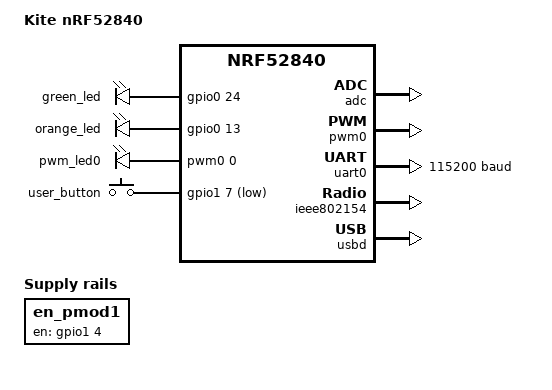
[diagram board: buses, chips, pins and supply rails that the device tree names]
/dts-v1/;
#include <nordic/nrf52840_qiaa.dtsi>
#include "kite_nrf52840-pinctrl.dtsi"
#include "kite_nrf52840-connectors-gpio.dtsi"
#include "kite_nrf52840-connectors-pinctrl.dtsi"

/ {
	model = "Kite nRF52840";
	compatible = "eub,kite-nrf52840";

	chosen {
		zephyr,console = &uart0;
		zephyr,shell-uart = &uart0;
		zephyr,uart-mcumgr = &uart0;
		zephyr,bt-mon-uart = &uart0;
		zephyr,bt-c2h-uart = &uart0;
		zephyr,sram = &sram0;
		zephyr,flash = &flash0;
		zephyr,code-partition = &slot0_partition;
		zephyr,ieee802154 = &ieee802154;
	};

	/* These aliases are provided for compatibility with samples */
	aliases {
		led0 = &green_led;
		led1 = &orange_led;
		pwm-led0 = &pwm_led0;
		sw0 = &user_button;
		bootloader-led0 = &green_led;
		mcuboot-button0 = &user_button;
		mcuboot-led0 = &green_led;
		watchdog0 = &wdt0;
	};

	leds {
		compatible = "gpio-leds";
		green_led: green_led {
			gpios = <&gpio0 24 0>;
		};
		orange_led: orange_led {
			gpios = <&gpio0 13 0>;
		};
	};

	pwmleds {
		compatible = "pwm-leds";
		pwm_led0: pwm_led_0 {
			pwms = <&pwm0 0 PWM_MSEC(20) PWM_POLARITY_NORMAL>;
		};
	};

	buttons {
		compatible = "gpio-keys";
		user_button: user_button {
			gpios = <&gpio1 7 (GPIO_PULL_UP | GPIO_ACTIVE_LOW)>;
		};
	};

	en_pmod1: pmod1-pwr-ctrl {
		compatible = "regulator-fixed-sync", "regulator-fixed";
		status = "okay";
		regulator-name = "EN_PMOD1";
		enable-gpios = <&gpio1 4 GPIO_ACTIVE_HIGH>;
		regulator-boot-on;
	};
};

&adc {
	status = "okay";
};

&gpiote {
	status = "okay";
};

&gpio0 {
	status = "okay";
};

&gpio1 {
	status = "okay";
};

&pwm0 {
	status = "okay";
	pinctrl-0 = <&pwm0_default>;
	pinctrl-1 = <&pwm0_sleep>;
	pinctrl-names = "default", "sleep";
};

&uart0 {
	status = "okay";
	current-speed = <115200>;
	pinctrl-0 = <&uart_pmod1_default>;
	pinctrl-1 = <&uart_pmod1_sleep>;
	pinctrl-names = "default", "sleep";
};

&ieee802154 {
	status = "okay";
};

&flash0 {
	partitions {
		compatible = "fixed-partitions";
		#address-cells = <1>;
		#size-cells = <1>;

		boot_partition: partition@0 {
			label = "mcuboot";
			reg = <0x00000000 0x0000C000>;
		};
		slot0_partition: partition@c000 {
			label = "image-0";
			reg = <0x0000C000 0x00076000>;
		};
		slot1_partition: partition@82000 {
			label = "image-1";
			reg = <0x00082000 0x00076000>;
		};

		/*
		 * The flash starting at 0x000f8000 and ending at
		 * 0x000fffff is reserved for use by the application.
		 */

		/*
		 * Storage partition will be used by FCB/LittleFS/NVS
		 * if enabled.
		 */
		storage_partition: partition@f8000 {
			label = "storage";
			reg = <0x000f8000 0x00008000>;
		};
	};
};

zephyr_udc0: &usbd {
	status = "okay";
};

&uicr {
	gpio-as-nreset;
};
